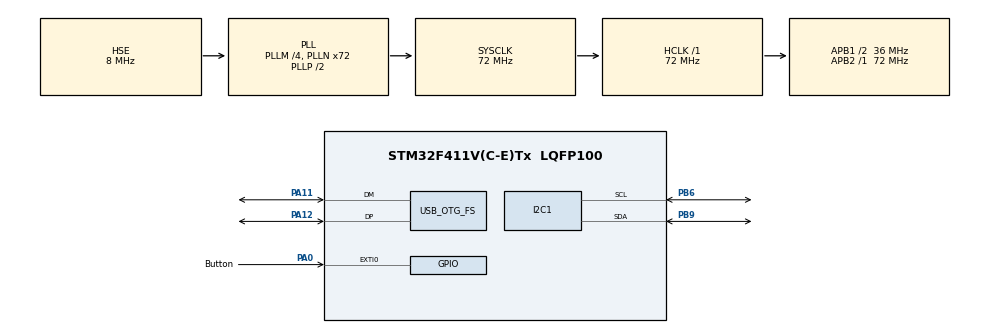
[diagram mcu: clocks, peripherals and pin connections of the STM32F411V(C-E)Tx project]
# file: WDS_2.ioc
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I2C1.I2C_Mode=I2C_Fast
Mcu.Family=STM32F4
Mcu.Name=STM32F411V(C-E)Tx
Mcu.Package=LQFP100
Mcu.UserConstants=TIM10_PRESCALER,5999;TIM10_PERIOD,1999
NVIC.EXTI0_IRQn=true\:0\:0\:false\:false\:true\:true\:true
NVIC.OTG_FS_IRQn=true\:0\:0\:false\:false\:true\:false\:true
NVIC.PriorityGroup=NVIC_PRIORITYGROUP_4
NVIC.TIM1_UP_TIM10_IRQn=true\:0\:0\:false\:false\:true\:true\:true
PA0-WKUP.GPIO_Label=Button
PA0-WKUP.GPIO_ModeDefaultEXTI=GPIO_MODE_IT_RISING_FALLING
PA0-WKUP.Signal=GPXTI0
PA11.Mode=Device_Only
PA11.Signal=USB_OTG_FS_DM
PA12.Mode=Device_Only
PA12.Signal=USB_OTG_FS_DP
PA13.Mode=Trace_Asynchronous_SW
PA13.Signal=SYS_JTMS-SWDIO
PA14.Mode=Trace_Asynchronous_SW
PA14.Signal=SYS_JTCK-SWCLK
PB3.Mode=Trace_Asynchronous_SW
PB3.Signal=SYS_JTDO-SWO
PB6.Mode=I2C
PB6.Signal=I2C1_SCL
PB9.Mode=I2C
PB9.Signal=I2C1_SDA
PH0\ -\ OSC_IN.Mode=HSE-External-Oscillator
PH0\ -\ OSC_IN.Signal=RCC_OSC_IN
PH1\ -\ OSC_OUT.Mode=HSE-External-Oscillator
PH1\ -\ OSC_OUT.Signal=RCC_OSC_OUT
ProjectManager.HeapSize=0x200
ProjectManager.StackSize=0x400
ProjectManager.TargetToolchain=STM32CubeIDE
RCC.48MHZClocksFreq_Value=48000000
RCC.AHBFreq_Value=72000000
RCC.APB1CLKDivider=RCC_HCLK_DIV2
RCC.APB1Freq_Value=36000000
RCC.APB1TimFreq_Value=72000000
RCC.APB2Freq_Value=72000000
RCC.APB2TimFreq_Value=72000000
RCC.CortexFreq_Value=72000000
RCC.HCLKFreq_Value=72000000
RCC.HSE_VALUE=8000000
RCC.HSI_VALUE=16000000
RCC.LSE_VALUE=32768
RCC.PLLM=4
RCC.PLLN=72
RCC.PLLQ=3
RCC.SYSCLKFreq_VALUE=72000000
RCC.SYSCLKSource=RCC_SYSCLKSOURCE_PLLCLK
RCC.VCOOutputFreq_Value=144000000
TIM10.Period=TIM10_PERIOD
TIM10.Prescaler=TIM10_PRESCALER
USB_DEVICE.CLASS_NAME_FS=CDC
USB_DEVICE.VirtualMode=Cdc
USB_DEVICE.VirtualModeFS=Cdc_FS
USB_OTG_FS.VirtualMode=Device_Only
VP_TIM10_VS_ClockSourceINT.Mode=Enable_Timer
VP_USB_DEVICE_VS_USB_DEVICE_CDC_FS.Mode=CDC_FS
board=custom

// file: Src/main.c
/* USER CODE BEGIN Header */
/**
  ******************************************************************************
  * @file           : main.c
  * @brief          : Main program body
  ******************************************************************************
  * @attention
  *
  * <h2><center>&copy; Copyright (c) 2020 STMicroelectronics.
  * All rights reserved.</center></h2>
  *
  * This software component is licensed by ST under Ultimate Liberty license
  * SLA0044, the "License"; You may not use this file except in compliance with
  * the License. You may obtain a copy of the License at:
  *                             www.st.com/SLA0044
  *
  ******************************************************************************
  */
/* USER CODE END Header */

#include "main.h"
#include "i2c.h"
#include "tim.h"
#include "usb_device.h"
#include "gpio.h"

/* USER CODE BEGIN Includes */
#include "usbd_cdc_if.h" // Plik bedacy interfejsem uzytkownika do kontrolera USB
#include <limits.h> //Do maxint
#include <stdio.h> //Do printf()
/* USER CODE END Includes */

/* USER CODE BEGIN PV */
/* Private variables ---------------------------------------------------------*/
volatile int flag_tim;
//Rejestry
#define LSM303_ACC_ADDRESS (0x19 << 1) // adres akcelerometru: 0011001x
#define LSM303_ACC_CTRL_REG1_A 0x20 // rejestr ustawien 1

#define LSM303_ACC_X_H_A 0x29		   // wyzszy bajt danych osi x
#define LSM303_ACC_X_L_A 0x28          // nizszy bajt osi x

#define LSM303_ACC_Y_H_A 0x2B		   // wyzszy bajt danych osi y
#define LSM303_ACC_Y_L_A 0x2A          // nizszy bajt osi y

#define LSM303_ACC_Z_H_A 0x2D          // wyzszy bajt danych osi z
#define LSM303_ACC_Z_L_A 0x2C          // nizszy bajt osi z

#define LSM303_ACC_Z_L_A_MULTI_READ (LSM303_ACC_Z_L_A | 0x80)
#define LSM303_ACC_X_L_A_MULTI_READ (LSM303_ACC_X_L_A | 0x80)
#define LSM303_ACC_Y_L_A_MULTI_READ (LSM303_ACC_Y_L_A | 0x80)
// Maski bitowe
// CTRL_REG1_A = [ODR3][ODR2][ODR1][ODR0][LPEN][ZEN][YEN][XEN]
#define LSM303_ACC_XYZ_ENABLE 0x07 // 0000 0111
#define LSM303_ACC_1HZ 0x10 //0001 0000 1Hz
#define LSM303_ACC_10HZ 0x20 //0001 0000 10Hz
#define LSM303_ACC_100HZ 0x50 // 0101 0000

#define LSM303_ACC_RESOLUTION 2.0 // Maksymalna wartosc mierzalnego przyspieszenia [g]
//------------------------- Zmienne--------------------------------------//
uint8_t Data[6]; // Zmienna do bezposredniego odczytu z akcelerometru
int16_t Xaxis; // Zawiera przeksztalcona forme odczytanych danych z osi X
int16_t Yaxis; // Zawiera przeksztalcona forme odczytanych danych z osi Y
int16_t Zaxis; // Zawiera przeksztalcona forme odczytanych danych z osi Z

uint8_t DataToSend[1000]; // Tablica zawierajaca dane do wyslania
uint8_t Length;	//Rozmiar wiadomości

uint16_t ToCrc; //Zmienna pom - wartosc rejsstru CRC
//int syncSign;
uint16_t syncSign;
/* USER CODE END PV */

void SystemClock_Config(void);

/* USER CODE BEGIN 0 */
//Przekierowanie funkcji printf() za pomoca SWV
int _write(int file, char *ptr, int len){
	int i ;
	for(i=0;i<len;++i){
		ITM_SendChar(*ptr++);
	}
	return len;
}
void HAL_TIM_PeriodElapsedCallback(TIM_HandleTypeDef *htim){
	if(htim == &htim10){
		flag_tim = 1;
		//printf("ELO \r\n");
	}
}
/* USER CODE END 0 */

int main(void)
{
  /* USER CODE BEGIN 1 */
Xaxis = 0;
Yaxis = 0;
Zaxis = 0;
ToCrc = 0;
//flag_tim = 0;
syncSign = 0x24;// Znak '$' zapisany w systemie szesnastkowym Hex
  /* USER CODE END 1 */

  /* MCU Configuration--------------------------------------------------------*/

  /* Reset of all peripherals, Initializes the Flash interface and the Systick. */
  HAL_Init();

  /* Configure the system clock */
  SystemClock_Config();

  /* Initialize all configured peripherals */
  MX_GPIO_Init();
  MX_USB_DEVICE_Init();
  MX_I2C1_Init();
  MX_TIM10_Init();
  /* USER CODE BEGIN 2 */
  // wypelnienie zmiennej konfiguracyjnej odpowiednimi opcjami
  //uint8_t Settings = LSM303_ACC_XYZ_ENABLE | LSM303_ACC_1HZ;
  uint8_t Settings = LSM303_ACC_XYZ_ENABLE | LSM303_ACC_10HZ;
  // Wpisanie konfiguracji do rejestru akcelerometru
  HAL_I2C_Mem_Write(&hi2c1, LSM303_ACC_ADDRESS, LSM303_ACC_CTRL_REG1_A, 1, &Settings, 1, 100);
  HAL_TIM_Base_Start_IT(&htim10);//Uruchom timer generujacy przerwania
  /* USER CODE END 2 */

  /* Infinite loop */
  /* USER CODE BEGIN WHILE */
  while (1)
  {
	  if(flag_tim == 1){
		  flag_tim = 0;
		  // Pobieranie 6 bajtów danych zawierających przyspieszenia w 3 osiach
		  HAL_I2C_Mem_Read(&hi2c1, LSM303_ACC_ADDRESS, (LSM303_ACC_X_H_A), 1, &Data[1], 2, 100);
		  HAL_I2C_Mem_Read(&hi2c1, LSM303_ACC_ADDRESS, (LSM303_ACC_Y_H_A), 1, &Data[3], 2, 100);
		  HAL_I2C_Mem_Read(&hi2c1, LSM303_ACC_ADDRESS, (LSM303_ACC_Z_H_A), 1, &Data[5], 2, 100);

		  Xaxis = ((Data[1] << 8) | Data[0]);
		  Yaxis = ((Data[3] << 8) | Data[2]);
		  Zaxis = ((Data[5] << 8) | Data[4]);
		  ToCrc = Xaxis + Yaxis + Zaxis;
		  ToCrc = (ToCrc % 128);
		  //Length=sprintf(DataToSend,"%d %d %d %d",Xaxis,Yaxis,Zaxis,ToCrc);
		  //Przeslij ramke [$][_][X][_][Y][_][Z][_][CRC][_][\n]
		  Length=sprintf(DataToSend,"%x %d %d %d %d \n",syncSign,Xaxis,Yaxis,Zaxis,ToCrc);
		  //printf("%x %d %d %d %d \r\n",syncSign,Xaxis,Yaxis,Zaxis,ToCrc);
		  CDC_Transmit_FS(DataToSend, Length);
		  //HAL_Delay(1000);
	  }
    /* USER CODE END WHILE */

  }
}

void SystemClock_Config(void)
{
  RCC_OscInitTypeDef RCC_OscInitStruct = {0};
  RCC_ClkInitTypeDef RCC_ClkInitStruct = {0};

  /** Configure the main internal regulator output voltage
  */
  __HAL_RCC_PWR_CLK_ENABLE();
  __HAL_PWR_VOLTAGESCALING_CONFIG(PWR_REGULATOR_VOLTAGE_SCALE1);
  /** Initializes the CPU, AHB and APB busses clocks
  */
  RCC_OscInitStruct.OscillatorType = RCC_OSCILLATORTYPE_HSE;
  RCC_OscInitStruct.HSEState = RCC_HSE_ON;
  RCC_OscInitStruct.PLL.PLLState = RCC_PLL_ON;
  RCC_OscInitStruct.PLL.PLLSource = RCC_PLLSOURCE_HSE;
  RCC_OscInitStruct.PLL.PLLM = 4;
  RCC_OscInitStruct.PLL.PLLN = 72;
  RCC_OscInitStruct.PLL.PLLP = RCC_PLLP_DIV2;
  RCC_OscInitStruct.PLL.PLLQ = 3;
  if (HAL_RCC_OscConfig(&RCC_OscInitStruct) != HAL_OK)
  {
    Error_Handler();
  }
  /** Initializes the CPU, AHB and APB busses clocks
  */
  RCC_ClkInitStruct.ClockType = RCC_CLOCKTYPE_HCLK|RCC_CLOCKTYPE_SYSCLK
                              |RCC_CLOCKTYPE_PCLK1|RCC_CLOCKTYPE_PCLK2;
  RCC_ClkInitStruct.SYSCLKSource = RCC_SYSCLKSOURCE_PLLCLK;
  RCC_ClkInitStruct.AHBCLKDivider = RCC_SYSCLK_DIV1;
  RCC_ClkInitStruct.APB1CLKDivider = RCC_HCLK_DIV2;
  RCC_ClkInitStruct.APB2CLKDivider = RCC_HCLK_DIV1;

  if (HAL_RCC_ClockConfig(&RCC_ClkInitStruct, FLASH_LATENCY_2) != HAL_OK)
  {
    Error_Handler();
  }
}

void Error_Handler(void)
{
}

/************************ (C) COPYRIGHT STMicroelectronics *****END OF FILE****/
